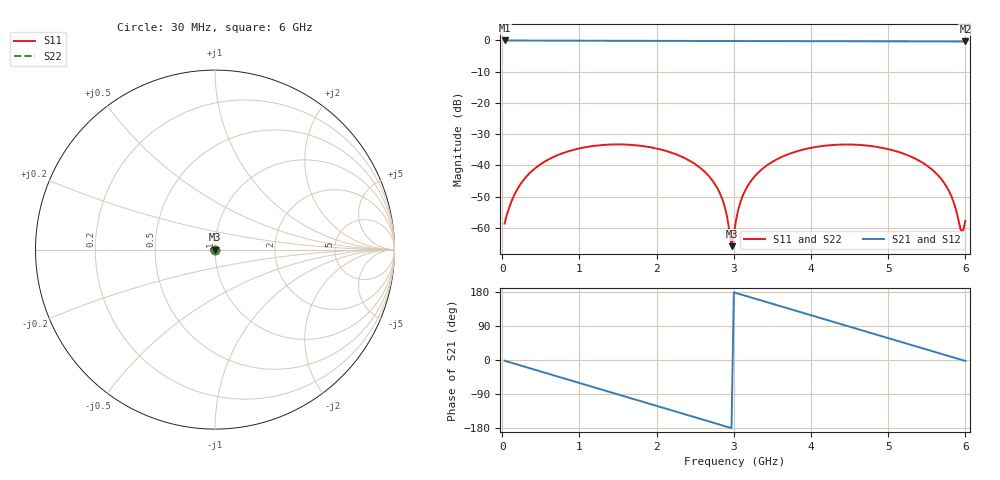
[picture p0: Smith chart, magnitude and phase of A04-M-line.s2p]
! yapnr Order 0 O0-D: O0-D A04 M dL30 (line, family M)
! stackup OSHPARK-4L-EM528, nominal parameters; geometry of the OSHPARK-4L-FR408HR design
! model: 2D quasi-static RLGC (Djordjevic-Sarkar, Huray roughness, Wheeler loss); generated by python -m yapnr.rf.coupons expected --stackup OSHPARK-4L-FR408HR --upload D
! reference planes 10 mm from each end; 50 ohm (from the M line's Zc)
# GHz S DB R 50
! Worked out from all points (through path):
!   200 points, 30 MHz to 6 GHz, reference 50 ohm
!   highest |S21| = -0.01 dB at 30 MHz (marker M1); lowest = -0.3 dB at 6 GHz (marker M2)
!   group delay of S21, straight-line fit = 168 ps
!   lowest |S11| = -65.8 dB at 2.97 GHz (marker M3), VSWR 1.00, Z = 49.9 + j0.00328 ohm
!   |S11| at or under -10 dB: start of sweep to end of sweep
!   |S22| runs from -65.8 to -33.3 dB; largest |S21 - S12| = 0
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0.03  -58.60 4.8  -0.01 -1.9  -0.01 -1.9  -58.60 4.8
0.15  -49.75 -51.0  -0.03 -9.2  -0.03 -9.2  -49.75 -51.0
0.36  -42.34 -84.5  -0.05 -22.0  -0.05 -22.0  -42.34 -84.5
0.66  -37.33 -111.5  -0.07 -40.2  -0.07 -40.2  -37.33 -111.5
1.05  -34.30 -139.6  -0.10 -63.8  -0.10 -63.8  -34.30 -139.6
1.53  -33.28 -171.2  -0.12 -92.8  -0.12 -92.8  -33.28 -171.2
2.04  -34.82 156.8  -0.15 -123.6  -0.15 -123.6  -34.82 156.8
2.46  -38.98 131.7  -0.17 -148.9  -0.17 -148.9  -38.98 131.7
2.73  -45.08 117.6  -0.19 -165.2  -0.19 -165.2  -45.08 117.6
2.88  -53.08 116.3  -0.20 -174.3  -0.20 -174.3  -53.08 116.3
2.97  -65.83 176.3  -0.20 -179.7  -0.20 -179.7  -65.83 176.3
3.03  -57.27 -107.4  -0.20 176.7  -0.20 176.7  -57.27 -107.4
3.15  -47.89 -100.4  -0.21 169.4  -0.21 169.4  -47.89 -100.4
3.33  -41.97 -107.8  -0.22 158.5  -0.22 158.5  -41.97 -107.8
4.02  -34.27 -147.5  -0.25 116.9  -0.25 116.9  -34.27 -147.5
4.5  -33.31 -176.0  -0.28 87.9  -0.28 87.9  -33.31 -176.0
5.01  -34.84 154.1  -0.30 57.1  -0.30 57.1  -34.84 154.1
5.61  -42.26 121.8  -0.33 20.9  -0.33 20.9  -42.26 121.8
5.82  -49.95 118.3  -0.34 8.2  -0.34 8.2  -49.95 118.3
5.94  -60.72 162.2  -0.34 1.0  -0.34 1.0  -60.72 162.2
5.97  -60.93 -155.9  -0.34 -0.8  -0.34 -0.8  -60.93 -155.9
6  -57.74 -128.4  -0.34 -2.6  -0.34 -2.6  -57.74 -128.4
